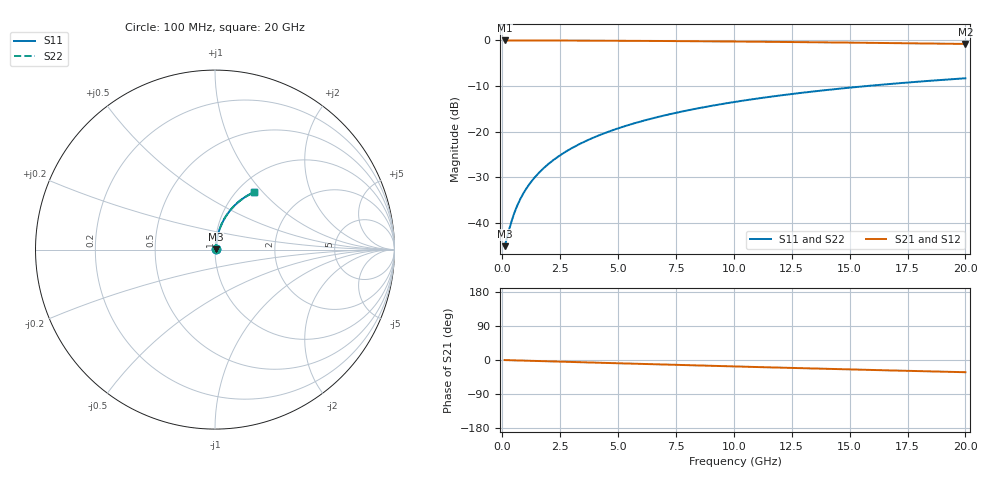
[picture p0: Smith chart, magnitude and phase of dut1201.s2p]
! Touchstone file exported from HFSS 2026.1.0
!  File:  C:/ffzhzh/LocalFiles/Ansys_Project_Files/temp_train_BSMRDL_1201_1783176483_55132.aedt
!  Generated:  10:49:16 PM Jul  4, 2026
!  Design:  BSMRDL
!  Project:  temp_train_BSMRDL_1201_1783176483_55132
! Variables:
!  h_bsmrdl = 2.67um
!  h_ox = 20um
!  h_rdl = 5um
!  h_sub = 80um
!  h_tmrdl = 5um
!  h_tsv = 80um
!  h_via = 3um
!  l_bsmrdl = 393.32um
!  l_sub = 793.32um
!  l_tmrdl = 200um
!  m_sub = 200um
!  pitch = 39.62um
!  r_tsv = 6um
!  s_tmrdl = 10um
!  w_bsmrdl = 10.38um
!  w_sub = 500um
!  w_tmrdl = 12um
!  x_tsv_center1 = 206um
!  x_tsv_center2 = 609.7um
!  x_tsv_center3 = 821.7um
!  x_tsv_center4 = 1225.4um
!  x_tsv_center5 = 1437.4um
!  x_tsv_center6 = 1841.1um
# GHz S MA R 50.000000
! Terminal data exported
! Port[1] = BSM_RDL1_1_T1
! Port[2] = BSM_RDL1_1_T2
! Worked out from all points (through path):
!   200 points, 100 MHz to 20 GHz, reference 50 ohm
!   highest |S21| = -0.04 dB at 100 MHz (marker M1); lowest = -0.8 dB at 20 GHz (marker M2)
!   group delay of S21, straight-line fit = 4.49 ps
!   lowest |S11| = -45.0 dB at 100 MHz (marker M3), VSWR 1.01, Z = 50.5 + j0.23 ohm
!   |S11| at or under -10 dB: start of sweep to 15.76 GHz
!   |S22| runs from -45.0 to -8.3 dB; largest |S21 - S12| = 3.4e-15
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0.1  0.005609 23.9  0.9949 -0.2  0.9949 -0.2  0.005609 23.9
! Gamma 0 0 0 0
! Port Impedance 50 0 50 0
0.4  0.01051 59.3  0.9947 -0.7  0.9947 -0.7  0.01051 59.3
0.5  0.01253 64.0  0.9946 -0.9  0.9946 -0.9  0.01253 64.0
0.6  0.01461 67.3  0.9945 -1.1  0.9945 -1.1  0.01461 67.3
0.7  0.01671 69.7  0.9944 -1.2  0.9944 -1.2  0.01671 69.7
0.9  0.02095 73.0  0.9942 -1.6  0.9942 -1.6  0.02095 73.0
1.2  0.02736 75.8  0.9939 -2.1  0.9939 -2.1  0.02736 75.8
1.4  0.03164 77.0  0.9937 -2.4  0.9937 -2.4  0.03164 77.0
1.7  0.03809 78.1  0.9934 -3.0  0.9934 -3.0  0.03809 78.1
2.2  0.04885 79.1  0.9928 -3.8  0.9928 -3.8  0.04885 79.1
2.8  0.06178 79.4  0.9919 -4.9  0.9919 -4.9  0.06178 79.4
3.5  0.07684 79.2  0.9907 -6.1  0.9907 -6.1  0.07684 79.2
4.2  0.09183 78.6  0.9892 -7.3  0.9892 -7.3  0.09183 78.6
5  0.1089 77.8  0.9873 -8.6  0.9873 -8.6  0.1089 77.8
5.9  0.1278 76.7  0.9847 -10.1  0.9847 -10.1  0.1278 76.7
6.8  0.1466 75.4  0.9818 -11.7  0.9818 -11.7  0.1466 75.4
8.3  0.1772 73.3  0.9762 -14.2  0.9762 -14.2  0.1772 73.3
10.1  0.2129 70.6  0.9684 -17.1  0.9684 -17.1  0.2129 70.6
11.7  0.2436 68.1  0.9606 -19.7  0.9606 -19.7  0.2436 68.1
13.4  0.2749 65.6  0.9516 -22.4  0.9516 -22.4  0.2749 65.6
16.7  0.332 60.7  0.9323 -27.4  0.9323 -27.4  0.332 60.7
20  0.384 56.0  0.9114 -32.2  0.9114 -32.2  0.384 56.0
